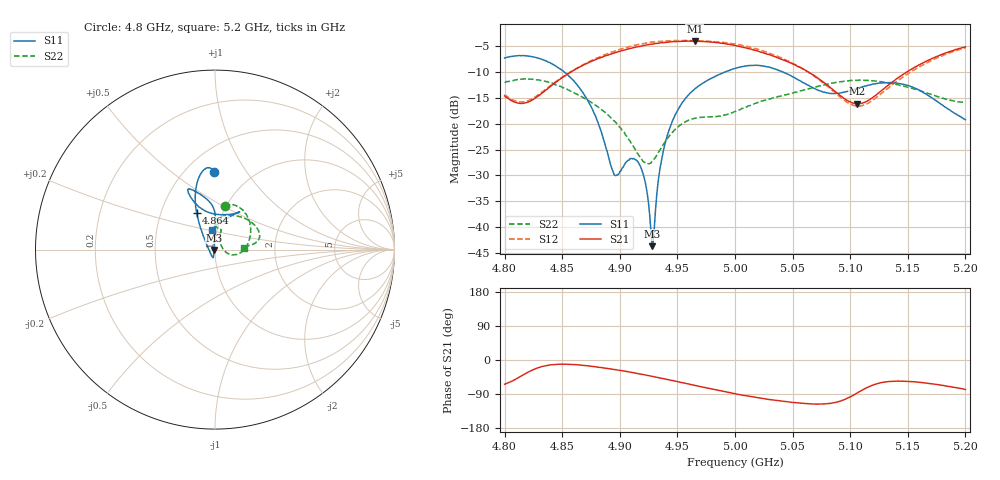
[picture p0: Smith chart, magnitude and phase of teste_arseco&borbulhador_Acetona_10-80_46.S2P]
! Network Analyzer HP8722D
! Hewlett-Packard
! Data name: Linha & Wilkinson
! Saver's name: Rodrigo Anjos
! Comments: Teste da utilização de aquisição
! continua pelo VNA HP8722D
! Time and date: 25/4/2025 15:39
!  Frequency  S11  S21  S12  S22
# HZ  S  MA R 50
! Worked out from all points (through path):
!   401 points, 4.8 GHz to 5.2 GHz, reference 50 ohm
!   highest |S21| = -3.96 dB at 4.965 GHz (marker M1); lowest = -16.1 dB at 5.106 GHz (marker M2)
!   lowest |S11| = -43.7 dB at 4.928 GHz (marker M3), VSWR 1.01, Z = 49.4 - j0.235 ohm
!   |S11| at or under -10 dB: 4.852 GHz to 4.991 GHz (139.1 MHz wide, 2.83 % of centre); 5.042 GHz to end of sweep
!   |S22| runs from -27.8 to -11.3 dB; largest |S21 - S12| = 1.2
!   S11 on the Smith chart (normalised r, x): 4.8 GHz: 0.68, +0.73; 4.864 GHz: 0.75, +0.33; 5.2 GHz: 0.94, +0.21
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4.8e9  0.4335 90.5  0.1863 -63.9  0.1913 69.5  0.2504 77.4
4.821e9  0.4529 97.2  0.1637 -31.1  0.1686 99.7  0.2706 61.1
4.864e9  0.2307 116.4  0.35 -12.9  0.3528 121.0  0.1903 12.1
4.867e9  0.2079 118.1  0.3636 -13.8  0.3677 120.7  0.1828 8.5
4.88e9  0.1099 128.3  0.4227 -18.4  0.4335 118.2  0.1488 -5.3
4.895e9  0.03224 -172.3  0.4855 -25.0  0.5028 113.7  0.1067 -15.7
4.91e9  0.04603 -104.7  0.5396 -32.4  0.5656 107.1  0.06428 -14.4
4.917e9  0.04032 -101.6  0.5618 -36.2  0.5896 103.6  0.04849 -2.3
4.922e9  0.02742 -104.9  0.5772 -39.3  0.6037 100.7  0.04198 15.4
4.928e9  0.006512 -158.6  0.5923 -43.0  0.6178 97.0  0.04318 41.2
4.93e9  0.009976 124.8  0.5972 -44.3  0.6213 95.8  0.04586 47.9
4.934e9  0.03152 98.5  0.6042 -46.7  0.6298 93.3  0.05407 58.0
4.939e9  0.06251 92.3  0.6139 -49.7  0.6363 90.0  0.06594 65.8
4.946e9  0.1086 89.5  0.626 -54.5  0.6393 85.6  0.08345 70.7
4.965e9  0.2169 90.8  0.6335 -67.1  0.6377 73.4  0.113 72.1
5e9  0.3441 109.1  0.5735 -89.0  0.5932 50.8  0.1316 88.7
5.03e9  0.3531 115.0  0.4661 -104.3  0.4828 33.8  0.1738 85.5
5.067e9  0.2252 105.1  0.3018 -116.0  0.2992 23.6  0.2228 57.2
5.106e9  0.2195 64.2  0.1561 -87.3  0.1484 55.8  0.2635 24.9
5.134e9  0.2508 56.9  0.2411 -56.7  0.2267 88.7  0.2483 12.5
5.168e9  0.1876 68.8  0.414 -61.7  0.3969 85.3  0.1961 6.9
5.2e9  0.1095 100.2  0.5562 -77.7  0.5455 70.1  0.1608 3.8
